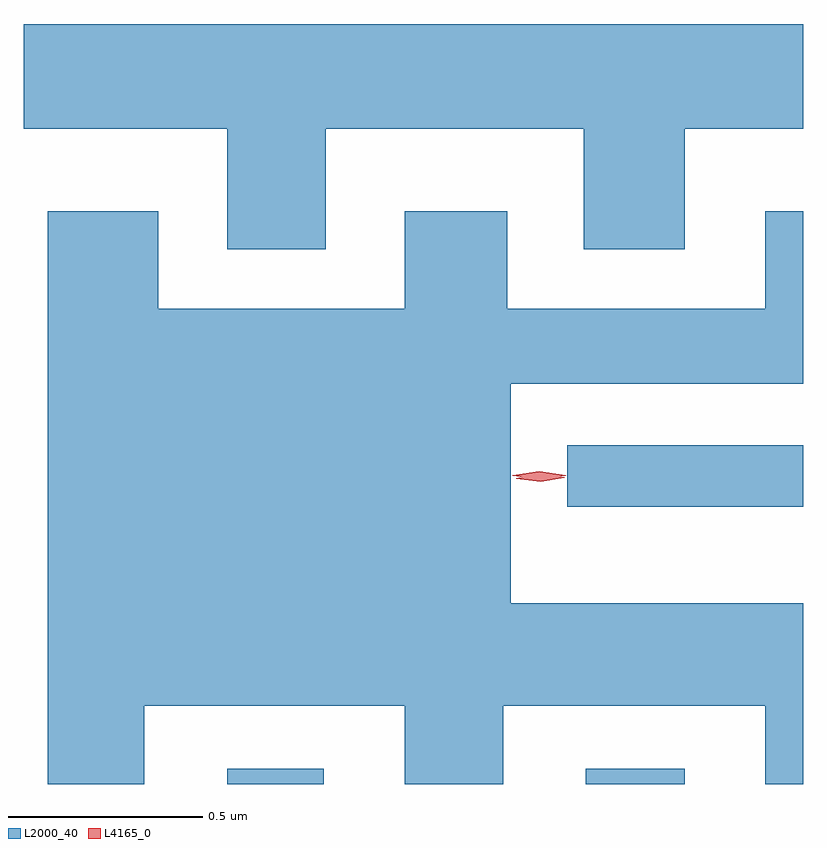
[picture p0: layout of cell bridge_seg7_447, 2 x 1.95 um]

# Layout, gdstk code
import gdstk
lib = gdstk.Library(unit=1e-6, precision=1e-09)
def R(c, l, rs):  # rectangles x0, y0, x1, y1
    for r in rs: c.add(gdstk.rectangle(r[:2], r[2:], *l))
def P(c, l, *ps):  # polygons
    for p in ps: c.add(gdstk.Polygon(p, *l))
L2000_40 = (2000, 40)
L4165_0 = (4165, 0)

bridge_seg7_447 = lib.new_cell('bridge_seg7_447')
R(bridge_seg7_447, L2000_40, [(1064.431,1710.415,1064.679,1710.454), (1065.351,1710.415,1065.604,1710.454), (1065.303,1711.126,1065.909,1711.284)])
P(bridge_seg7_447, L2000_40, [(1064.684,1712.096),(1065.346,1712.096),(1065.346,1711.786),(1065.604,1711.786),(1065.604,1712.096),(1065.909,1712.096),(1065.909,1712.364),(1063.909,1712.364),(1063.909,1712.096),(1064.431,1712.096),(1064.431,1711.786),(1064.684,1711.786)],
  [(1064.219,1710.616),(1064.886,1710.616),(1064.886,1710.415),(1065.139,1710.415),(1065.139,1710.616),(1065.811,1710.616),(1065.811,1710.415),(1065.909,1710.415),(1065.909,1710.879),(1065.159,1710.879),(1065.159,1711.441),(1065.909,1711.441),(1065.909,1711.884),(1065.811,1711.884),(1065.811,1711.634),(1065.149,1711.634),(1065.149,1711.884),(1064.886,1711.884),(1064.886,1711.634),(1064.254,1711.634),(1064.254,1711.884),(1063.971,1711.884),(1063.971,1710.415),(1064.219,1710.415)])
P(bridge_seg7_447, L4165_0, [(1065.232,1711.197),(1065.163,1711.206),(1065.162,1711.207),(1065.163,1711.207),(1065.232,1711.217),(1065.3,1711.207),(1065.3,1711.207),(1065.3,1711.206)],
  [(1065.235,1711.19),(1065.173,1711.198),(1065.172,1711.199),(1065.173,1711.199),(1065.234,1711.21),(1065.296,1711.202),(1065.297,1711.201),(1065.296,1711.201)])

lib.write_gds('bridge_seg7_447.gds')
